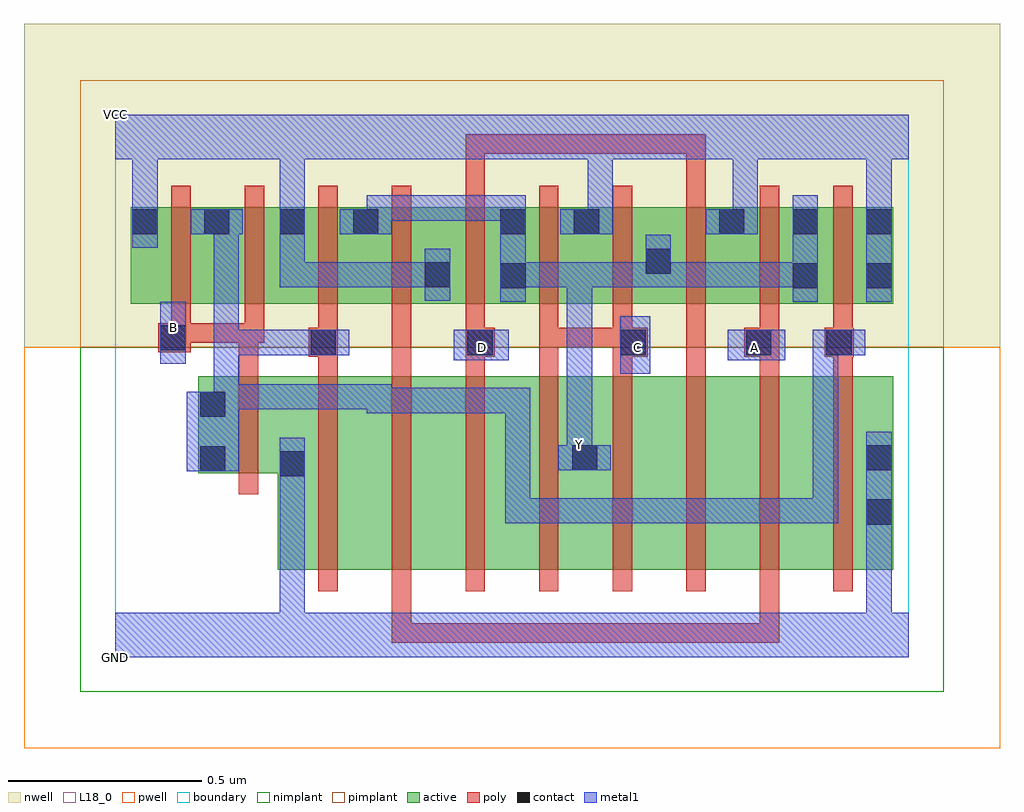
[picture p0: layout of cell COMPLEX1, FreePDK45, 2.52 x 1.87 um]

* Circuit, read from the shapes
.subckt COMPLEX1 A B C D GND VCC Y
M1 GND B n1 VSUBS nfet w=0.25u l=0.05u
M2 n2 n1 GND VSUBS nfet w=0.5u l=0.05u
M3 n3 A n2 VSUBS nfet w=0.5u l=0.05u
M4 n4 D n3 VSUBS nfet w=0.5u l=0.05u
M5 Y C n4 VSUBS nfet w=0.5u l=0.05u
M6 n5 C Y VSUBS nfet w=0.5u l=0.05u
M7 n6 D n5 VSUBS nfet w=0.5u l=0.05u
M8 n7 A n6 VSUBS nfet w=0.5u l=0.05u
M9 GND n1 n7 VSUBS nfet w=0.5u l=0.05u
M10 n1 B VCC n8 pfet w=0.25u l=0.05u m=2
M11 Y n1 VCC n8 pfet w=0.25u l=0.05u m=2
M12 VCC A Y n8 pfet w=0.25u l=0.05u m=2
M13 Y D VCC n8 pfet w=0.25u l=0.05u m=2
M14 VCC C Y n8 pfet w=0.25u l=0.05u m=2
.ends

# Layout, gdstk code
import gdstk
lib = gdstk.Library(unit=1e-6, precision=1e-09)
def R(c, l, rs):  # rectangles x0, y0, x1, y1
    for r in rs: c.add(gdstk.rectangle(r[:2], r[2:], *l))
def A(c, l, x, y, w, h, nx, ny, dx, dy):  # array of equal rectangles
    R(c, l, [(x+i*dx, y+j*dy, x+i*dx+w, y+j*dy+h) for i in range(nx) for j in range(ny)])
active = (1, 0)
pwell = (2, 0)
nwell = (3, 0)
nimplant = (4, 0)
pimplant = (5, 0)
poly = (9, 0)
contact = (10, 0)
metal1 = (11, 0)
L18_0 = (18, 0)
boundary = (235, 0)

complex1 = lib.new_cell('COMPLEX1')
A(complex1, active, 0.04, 0.912, 0.26, 0.25, 3, 1, 0.57, 0)
A(complex1, active, 1.365, 0.912, 0.265, 0.25, 3, 1, 0.19, 0)
R(complex1, active, [(0.42,0.225,0.645,0.725), (0.645,0.225,0.835,0.725), (0.835,0.225,1.025,0.725), (1.025,0.225,1.25,0.725), (1.175,0.225,1.405,0.725), (1.405,0.225,1.595,0.725), (1.595,0.225,1.785,0.725), (1.785,0.225,2.01,0.725), (1.175,0.245,1.25,0.717), (1.935,0.245,2.01,0.725), (0.42,0.462,0.495,0.725), (0.215,0.475,0.495,0.725), (0.215,0.475,0.29,0.725), (0.04,0.912,0.115,1.162), (0.225,0.912,0.3,1.162), (0.225,0.912,0.495,1.162), (0.42,0.912,0.495,1.162), (0.42,0.912,0.685,1.162), (0.795,0.912,1.065,1.162), (0.99,0.912,1.065,1.162), (0.99,0.912,1.255,1.162), (1.365,0.912,1.44,1.162), (1.745,0.912,1.82,1.162), (1.935,0.912,2.01,1.162), (0.61,0.932,0.685,1.162), (1.18,0.932,1.255,1.162), (1.555,0.947,1.63,1.162), (0.795,0.95,0.87,1.07)])
R(complex1, pwell, [(-0.235,-0.235,2.285,0.8)])
R(complex1, nwell, [(-0.235,0.8,2.285,1.635)])
R(complex1, nimplant, [(-0.09,-0.09,2.14,0.8)])
R(complex1, pimplant, [(-0.09,0.8,2.14,1.49)])
A(complex1, poly, 0.525, 0.17, 0.05, 0.61, 8, 1, 0.19, 0)
A(complex1, poly, 0.525, 0.73, 0.05, 0.095, 3, 1, 0.19, 0)
A(complex1, poly, 0.905, 0.8, 0.05, 0.107, 3, 1, 0.19, 0)
A(complex1, poly, 0.145, 0.857, 0.05, 0.36, 10, 1, 0.19, 0)
R(complex1, poly, [(0.715,0.037,0.765,0.22), (0.715,0.037,0.765,0.087), (0.715,0.037,0.765,0.087), (0.715,0.037,0.765,0.087), (0.715,0.037,1.012,0.087), (0.962,0.037,1.012,0.087), (0.962,0.037,1.012,0.087), (0.962,0.037,1.012,0.087), (0.962,0.037,1.202,0.087), (1.152,0.037,1.202,0.087), (1.152,0.037,1.202,0.087), (1.152,0.037,1.202,0.087), (1.152,0.037,1.375,0.087), (1.325,0.037,1.375,0.087), (1.325,0.037,1.375,0.087), (1.325,0.037,1.375,0.087), (1.325,0.037,1.507,0.087), (1.457,0.037,1.715,0.087), (1.457,0.037,1.507,0.087), (1.457,0.037,1.507,0.087), (1.457,0.037,1.507,0.087), (1.665,0.037,1.715,0.22), (1.665,0.037,1.715,0.087), (0.32,0.42,0.37,0.78), (0.32,0.73,0.37,0.862), (1.095,0.73,1.145,0.85), (1.285,0.73,1.335,0.825), (1.475,0.73,1.525,0.862), (1.665,0.73,1.715,0.825), (1.855,0.73,1.905,0.825), (0.5,0.775,0.575,0.85), (0.715,0.775,0.765,0.825), (0.715,0.775,0.765,0.907), (0.905,0.775,0.98,0.85), (1.285,0.775,1.375,0.85), (1.625,0.775,1.715,0.85), (1.832,0.775,1.907,0.85), (0.112,0.787,0.195,0.862), (0.525,0.8,0.575,0.907), (1.095,0.8,1.145,0.85), (1.095,0.8,1.145,0.85), (1.095,0.8,1.145,0.85), (1.095,0.8,1.335,0.85), (1.665,0.8,1.715,0.907), (1.855,0.8,1.905,0.907), (0.145,0.812,0.195,0.907), (0.145,0.812,0.37,0.862), (0.32,0.812,0.37,0.862), (0.32,0.812,0.37,0.862), (0.32,0.812,0.385,0.862), (0.335,0.812,0.385,0.907), (1.475,0.812,1.525,0.907), (1.475,0.812,1.525,0.862), (0.905,1.167,0.955,1.35), (1.475,1.167,1.525,1.35), (0.905,1.3,0.955,1.35), (0.905,1.3,0.955,1.35), (0.905,1.3,0.955,1.35), (0.905,1.3,1.202,1.35), (1.152,1.3,1.202,1.35), (1.152,1.3,1.202,1.35), (1.152,1.3,1.202,1.35), (1.152,1.3,1.335,1.35), (1.285,1.3,1.335,1.35), (1.285,1.3,1.375,1.35), (1.325,1.3,1.375,1.35), (1.325,1.3,1.525,1.35), (1.475,1.3,1.525,1.35)])
A(complex1, contact, 1.56, 1.092, 0.065, 0.065, 3, 1, 0.19, 0)
R(complex1, contact, [(1.94,0.342,2.005,0.407), (0.425,0.467,0.49,0.532), (0.22,0.48,0.285,0.545), (1.18,0.482,1.245,0.547), (1.94,0.482,2.005,0.547), (0.22,0.62,0.285,0.685), (0.505,0.78,0.57,0.845), (0.91,0.78,0.975,0.845), (1.305,0.78,1.37,0.845), (1.63,0.78,1.695,0.845), (1.837,0.78,1.902,0.845), (0.117,0.792,0.182,0.857), (0.995,0.952,1.06,1.017), (1.75,0.952,1.815,1.017), (1.94,0.952,2.005,1.017), (0.8,0.955,0.865,1.02), (1.37,0.99,1.435,1.055), (0.045,1.092,0.11,1.157), (0.23,1.092,0.295,1.157), (0.425,1.092,0.49,1.157), (0.615,1.092,0.68,1.157), (0.995,1.092,1.06,1.157), (1.185,1.092,1.25,1.157)])
R(complex1, metal1, [(0,0,2.05,0.115), (0.425,0.05,0.49,0.115), (0.425,0.05,0.49,0.115), (0.425,0.05,0.49,0.115), (0.425,0.05,0.49,0.115), (0.425,0.05,0.49,0.497), (1.94,0.05,2.005,0.115), (1.94,0.05,2.005,0.115), (1.94,0.05,2.005,0.115), (1.94,0.05,2.005,0.115), (1.94,0.05,2.005,0.372), (1.94,0.307,2.005,0.582), (1.007,0.345,1.072,0.41), (1.007,0.345,1.072,0.41), (1.007,0.345,1.072,0.41), (1.007,0.345,1.297,0.41), (1.007,0.345,1.072,0.695), (1.232,0.345,1.297,0.41), (1.232,0.345,1.297,0.41), (1.232,0.345,1.297,0.41), (1.232,0.345,1.435,0.41), (1.37,0.345,1.435,0.41), (1.37,0.345,1.435,0.41), (1.37,0.345,1.435,0.41), (1.37,0.345,1.435,0.41), (1.37,0.345,1.435,0.41), (1.37,0.345,1.572,0.41), (1.507,0.345,1.572,0.41), (1.507,0.345,1.572,0.41), (1.507,0.345,1.572,0.41), (1.507,0.345,1.867,0.41), (1.802,0.345,1.867,0.41), (1.802,0.345,1.867,0.845), (0.425,0.432,0.49,0.567), (0.185,0.48,0.32,0.685), (1.145,0.482,1.28,0.547), (1.167,0.482,1.232,0.547), (1.167,0.482,1.232,0.617), (1.167,0.552,1.232,1.02), (0.255,0.62,0.32,0.685), (0.255,0.62,0.32,0.705), (0.255,0.62,0.32,0.845), (0.65,0.63,0.922,0.695), (0.65,0.63,0.715,0.705), (0.857,0.63,0.922,0.695), (0.857,0.63,0.922,0.695), (0.857,0.63,0.922,0.695), (0.857,0.63,1.072,0.695), (1.007,0.63,1.072,0.695), (0.255,0.64,0.467,0.705), (0.402,0.64,0.467,0.705), (0.402,0.64,0.467,0.705), (0.402,0.64,0.467,0.705), (0.402,0.64,0.715,0.705), (0.65,0.64,0.715,0.705), (0.65,0.64,0.715,0.705), (1.305,0.732,1.382,0.88), (0.117,0.757,0.182,0.917), (0.875,0.767,1.017,0.845), (1.582,0.767,1.73,0.845), (0.255,0.78,0.32,0.845), (0.255,0.78,0.32,0.845), (0.255,0.78,0.32,0.845), (0.255,0.78,0.467,0.845), (0.255,0.78,0.32,1.157), (0.402,0.78,0.467,0.845), (0.402,0.78,0.535,0.845), (0.47,0.78,0.605,0.845), (1.802,0.78,1.867,0.845), (1.802,0.78,1.867,0.845), (1.802,0.78,1.937,0.845), (0.995,0.917,1.06,1.192), (1.75,0.917,1.815,1.192), (1.94,0.917,2.005,1.192), (0.8,0.92,0.865,1.055), (0.425,0.955,0.49,1.02), (0.425,0.955,0.49,1.02), (0.425,0.955,0.49,1.02), (0.425,0.955,0.715,1.02), (0.425,0.955,0.49,1.122), (0.65,0.955,0.715,1.02), (0.65,0.955,0.715,1.02), (0.65,0.955,0.715,1.02), (0.65,0.955,0.865,1.02), (0.995,0.955,1.06,1.02), (0.995,0.955,1.06,1.02), (0.995,0.955,1.232,1.02), (1.167,0.955,1.232,1.02), (1.167,0.955,1.232,1.02), (1.167,0.955,1.232,1.02), (1.167,0.955,1.435,1.02), (1.37,0.955,1.435,1.02), (1.37,0.955,1.435,1.02), (1.37,0.955,1.572,1.02), (1.37,0.955,1.435,1.09), (1.507,0.955,1.572,1.02), (1.507,0.955,1.73,1.02), (1.665,0.955,1.73,1.02), (1.665,0.955,1.815,1.02), (0.045,1.057,0.11,1.192), (0.425,1.057,0.49,1.192), (0.195,1.092,0.33,1.157), (0.58,1.092,0.715,1.157), (0.65,1.092,0.715,1.157), (0.65,1.092,0.715,1.192), (1.15,1.092,1.285,1.157), (1.22,1.092,1.285,1.35), (1.525,1.092,1.66,1.157), (1.595,1.092,1.66,1.157), (1.595,1.092,1.66,1.157), (1.595,1.092,1.66,1.35), (0.045,1.127,0.11,1.192), (0.045,1.127,0.11,1.192), (0.045,1.127,0.11,1.192), (0.045,1.127,0.11,1.192), (0.045,1.127,0.11,1.35), (0.425,1.127,0.49,1.35), (0.65,1.127,0.852,1.192), (0.787,1.127,0.852,1.192), (0.787,1.127,0.852,1.192), (0.787,1.127,0.852,1.192), (0.787,1.127,1.06,1.192), (0.995,1.127,1.06,1.192), (0.995,1.127,1.06,1.192), (1.94,1.127,2.005,1.192), (1.94,1.127,2.005,1.192), (1.94,1.127,2.005,1.192), (1.94,1.127,2.005,1.192), (1.94,1.127,2.005,1.35), (0,1.285,2.05,1.4), (0.425,1.285,0.49,1.35), (0.425,1.285,0.49,1.35), (0.425,1.285,0.49,1.35), (0.425,1.285,0.49,1.35), (1.22,1.285,1.285,1.35), (1.22,1.285,1.285,1.35), (1.22,1.285,1.285,1.35), (1.22,1.285,1.285,1.35), (1.595,1.285,1.66,1.35), (1.595,1.285,1.66,1.35)])
R(complex1, L18_0, [(0,0,2.05,0.115), (0.425,0.05,0.49,0.115), (0.425,0.05,0.49,0.115), (0.425,0.05,0.49,0.115), (0.425,0.05,0.49,0.115), (0.425,0.05,0.49,0.497), (1.94,0.05,2.005,0.115), (1.94,0.05,2.005,0.115), (1.94,0.05,2.005,0.115), (1.94,0.05,2.005,0.115), (1.94,0.05,2.005,0.372), (1.94,0.307,2.005,0.582), (0.425,0.432,0.49,0.567), (1.145,0.482,1.28,0.547), (1.167,0.482,1.232,0.617), (1.167,0.482,1.232,0.547), (1.167,0.517,1.232,0.582), (1.167,0.552,1.232,1.02), (1.305,0.732,1.382,0.88), (0.117,0.757,0.182,0.917), (0.875,0.767,1.017,0.845), (0.917,0.767,0.982,0.832), (1.317,0.767,1.382,0.832), (1.582,0.767,1.73,0.845), (1.617,0.767,1.682,0.832), (0.117,0.817,0.182,0.882), (0.995,0.917,1.06,1.192), (1.75,0.917,1.815,1.192), (1.94,0.917,2.005,1.192), (0.8,0.92,0.865,1.055), (0.425,0.955,0.49,1.02), (0.425,0.955,0.49,1.02), (0.425,0.955,0.49,1.02), (0.425,0.955,0.49,1.122), (0.425,0.955,0.715,1.02), (0.65,0.955,0.715,1.02), (0.65,0.955,0.715,1.02), (0.65,0.955,0.715,1.02), (0.65,0.955,0.865,1.02), (0.995,0.955,1.06,1.02), (0.995,0.955,1.06,1.02), (0.995,0.955,1.232,1.02), (1.167,0.955,1.232,1.02), (1.167,0.955,1.232,1.02), (1.167,0.955,1.232,1.02), (1.167,0.955,1.435,1.02), (1.37,0.955,1.435,1.09), (1.37,0.955,1.435,1.02), (1.37,0.955,1.435,1.02), (1.37,0.955,1.572,1.02), (1.507,0.955,1.572,1.02), (1.507,0.955,1.73,1.02), (1.665,0.955,1.73,1.02), (1.665,0.955,1.815,1.02), (0.045,1.057,0.11,1.192), (0.425,1.057,0.49,1.192), (0.58,1.092,0.715,1.157), (0.65,1.092,0.715,1.157), (0.65,1.092,0.715,1.192), (1.15,1.092,1.285,1.157), (1.22,1.092,1.285,1.35), (1.525,1.092,1.66,1.157), (1.595,1.092,1.66,1.157), (1.595,1.092,1.66,1.157), (1.595,1.092,1.66,1.35), (0.045,1.127,0.11,1.192), (0.045,1.127,0.11,1.192), (0.045,1.127,0.11,1.192), (0.045,1.127,0.11,1.192), (0.045,1.127,0.11,1.35), (0.425,1.127,0.49,1.35), (0.65,1.127,0.852,1.192), (0.787,1.127,0.852,1.192), (0.787,1.127,0.852,1.192), (0.787,1.127,0.852,1.192), (0.787,1.127,1.06,1.192), (0.995,1.127,1.06,1.192), (0.995,1.127,1.06,1.192), (1.94,1.127,2.005,1.192), (1.94,1.127,2.005,1.192), (1.94,1.127,2.005,1.192), (1.94,1.127,2.005,1.192), (1.94,1.127,2.005,1.35), (0,1.285,2.05,1.4), (0.425,1.285,0.49,1.35), (0.425,1.285,0.49,1.35), (0.425,1.285,0.49,1.35), (0.425,1.285,0.49,1.35), (1.22,1.285,1.285,1.35), (1.22,1.285,1.285,1.35), (1.22,1.285,1.285,1.35), (1.22,1.285,1.285,1.35), (1.595,1.285,1.66,1.35), (1.595,1.285,1.66,1.35)])
R(complex1, boundary, [(0,0,2.05,1.4)])
complex1.add(gdstk.Label('A', (1.65,0.8), layer=11, texttype=0))
complex1.add(gdstk.Label('B', (0.15,0.85), layer=11, texttype=0))
complex1.add(gdstk.Label('C', (1.35,0.8), layer=11, texttype=0))
complex1.add(gdstk.Label('D', (0.95,0.8), layer=11, texttype=0))
complex1.add(gdstk.Label('Y', (1.2,0.55), layer=11, texttype=0))
complex1.add(gdstk.Label('VCC', (0,1.4), layer=11, texttype=0))
complex1.add(gdstk.Label('GND', (0,0), layer=11, texttype=0))

lib.write_gds('COMPLEX1.gds')
